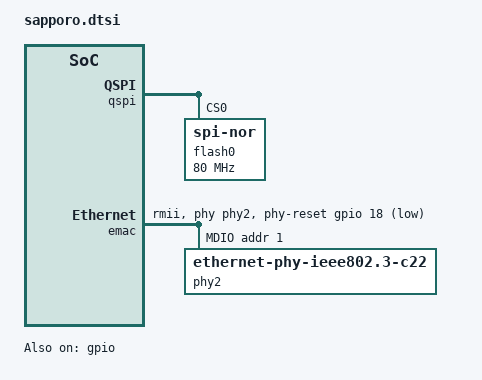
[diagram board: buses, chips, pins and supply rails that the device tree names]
// SPDX-License-Identifier: GPL-2.0+
/*
 * Augentix Sapporo SoC (HC1706, HC1726). Cortex-A7, armv7.
 *
 * Copyright (C) 2026 Augentix Inc.
 */

#include <dt-bindings/gpio/gpio.h>

/ {
	compatible = "augentix,sapporo";
	#address-cells = <1>;
	#size-cells = <1>;

	cpus {
		#address-cells = <1>;
		#size-cells = <0>;

		cpu0: cpu@0 {
			device_type = "cpu";
			compatible = "arm,cortex-a7";
			reg = <0>;
		};
	};

	soc {
		compatible = "simple-bus";
		#address-cells = <1>;
		#size-cells = <1>;
		ranges;

		gic: interrupt-controller@84001000 {
			compatible = "arm,cortex-a7-gic";
			#interrupt-cells = <3>;
			#address-cells = <0>;
			interrupt-controller;
			reg = <0x84001000 0x1000>,	/* distributor */
			      <0x84002000 0x1000>,	/* cpu interface */
			      <0x84004000 0x2000>,	/* virtual interface control */
			      <0x84006000 0x2000>;	/* virtual cpu interface */
		};

		timer: timer@80050000 {
			compatible = "augentix,timer";
			reg = <0x80050000 0x1000>;
			status = "disabled";
		};




		/* Five windows, in driver index order. */
		qspi: spi@83610000 {
			compatible = "augentix,qspi";
			reg = <0x83610000 0x1000>,
			      <0x83620000 0x1000>,
			      <0x83630000 0x1000>,
			      <0x81300058 0x4>,
			      <0x8000081c 0x10>;
			reg-names = "ctrl", "read", "write", "darb", "syscfg";
			#address-cells = <1>;
			#size-cells = <0>;
			status = "okay";

			flash0: flash@0 {
				compatible = "jedec,spi-nor";
				reg = <0>;
				spi-max-frequency = <80000000>;
				spi-rx-bus-width = <4>;
				spi-tx-bus-width = <4>;
				m25p,fast-read;
				status = "okay";
			};
		};

		sdc0: sdc@818a0000 {
			compatible = "augentix,sdc";
			/* Second range gates the core clock; third holds the
			 * shared CD and WP pin ids.
			 */
			reg = <0x818a0000 0x200>,
			      <0x81340000 0x3c>,
			      <0x80001434 0x4>;
			bus-width = <4>;
			num-slots = <1>;
			clock-frequency = <49800000>;
			max-frequency = <49800000>;
			disable-wp;
			cap-sd-highspeed;
			status = "disabled";
		};

		gpio: gpio@80001400 {
			compatible = "augentix,gpio";
			reg = <0x80001400 0x34>;
			#gpio-cells = <2>;
			gpio-controller;
			status = "okay";
		};

		emac: ethernet@81880000 {
			compatible = "augentix,sapporo-eqos";
			/* Linux states one range; EQOS_CFG is U-Boot's alone. */
			reg = <0x81880000 0x4000>,
			      <0x81360000 0x50>;
			phy-mode = "rmii";
			phy-handle = <&phy2>;
			phy-reset-gpios = <&gpio 18 GPIO_ACTIVE_HIGH>;
			snps,write-requests = <1>;
			snps,read-requests = <1>;
			snps,burst-map = <0x7>;
			snps,txpbl = <8>;
			snps,rxpbl = <2>;
			status = "okay";

			mdio {
				#address-cells = <1>;
				#size-cells = <0>;

				phy2: phy@1 {
					compatible = "ethernet-phy-ieee802.3-c22";
					reg = <1>;
				};
			};
		};
	};

};
